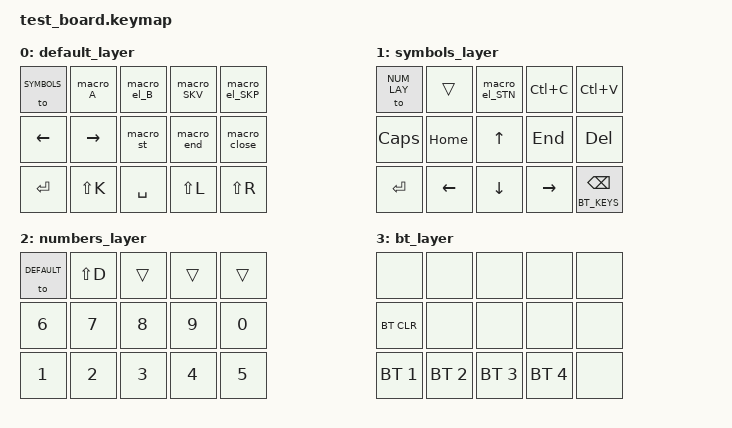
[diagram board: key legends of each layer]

#include <behaviors.dtsi>
#include <dt-bindings/zmk/keys.h>
#include <dt-bindings/zmk/bt.h>
#include "keys_sv.h"

#define DEFAULT 0
#define SYMBOLS 1
#define NUM_LAY 2
#define BT_KEYS 3

/ {
    keymap {
        compatible = "zmk,keymap";

        default_layer {
            bindings = <
                &to SYMBOLS &macro_A      &macro_el_B   &macro_SKV     &macro_el_SKP
                &kp LEFT    &kp RIGHT     &macro_st     &macro_end     &macro_close
                &kp ENTER   &kp LS(K)     &kp SPACE     &kp LS(L)      &kp LS(R)
            >;
        };

        symbols_layer {
            // &lt BT_KEYS LC(V)
            bindings = <
                &to NUM_LAY &trans    &macro_el_STN &kp LC(C)      &kp LC(V)
                &kp CAPS    &kp HOME  &kp UP        &kp END        &kp DEL
                &kp ENTER   &kp LEFT  &kp DOWN      &kp RIGHT      &lt BT_KEYS BSPC
            >;
        };

        numbers_layer {
            bindings = <
                &to DEFAULT  &kp LS(D) &trans        &trans         &trans
                &kp N6       &kp N7    &kp N8        &kp N9         &kp N0
                &kp N1       &kp N2    &kp N3        &kp N4         &kp N5
            >;
        };

        bt_layer {
            bindings = <
                &none        &none        &none        &none        &none
                &bt BT_CLR   &none        &none        &none        &none
                &bt BT_SEL 1 &bt BT_SEL 2 &bt BT_SEL 3 &bt BT_SEL 4 &none
            >;
        };
    };


    macros {
        zed_em_kay: zed_em_kay {
            label = "ZM_zed_em_kay";
            compatible = "zmk,behavior-macro";
            #binding-cells = <0>;
            bindings
                = <&macro_press &kp LSHFT>
                , <&macro_tap &kp Z &kp M &kp K>
                , <&macro_release &kp LSHFT>
                ;
        };

        macro_st: start_line {
            label = "start_line";
            compatible = "zmk,behavior-macro";
            #binding-cells = <0>;
            bindings
                = <&macro_tap &kp SPACE>
                , <&macro_press &kp LSHFT>
                , <&macro_tap &kp S>
                , <&macro_tap &kp T>
                , <&macro_release &kp LSHFT>
                ;
        };

        macro_end: end_line {
            label = "end_line";
            compatible = "zmk,behavior-macro";
            #binding-cells = <0>;
            bindings
                = <&macro_tap &kp SPACE>
                , <&macro_press &kp LSHFT>
                , <&macro_tap &kp E>
                , <&macro_tap &kp L>
                , <&macro_release &kp LSHFT>
                ;
        };

        macro_close: close_line {
            label = "close_line";
            compatible = "zmk,behavior-macro";
            #binding-cells = <0>;
            bindings
                = <&macro_tap &kp SPACE>
                , <&macro_press &kp LSHFT>
                , <&macro_tap &kp C>
                , <&macro_tap &kp L>
                , <&macro_tap &kp O>
                , <&macro_release &kp LSHFT>
                ;
        };

        macro_el_SKP: el_SKP {
            label = "el_SKP";
            compatible = "zmk,behavior-macro";
            #binding-cells = <0>;
            bindings
                = <&macro_tap &kp SPACE>
                , <&macro_press &kp LSHFT>
                , <&macro_tap &kp E>
                , <&macro_tap &kp L>
                , <&macro_release &kp LSHFT>
                , <&macro_tap &kp SV_UNDER>
                , <&macro_press &kp LSHFT>
                , <&macro_tap &kp S>
                , <&macro_tap &kp K>
                , <&macro_tap &kp P>
                , <&macro_release &kp LSHFT>
                ;
        };

        macro_el_STN: el_STN {
            label = "el_STN";
            compatible = "zmk,behavior-macro";
            #binding-cells = <0>;
            bindings
                = <&macro_tap &kp SPACE>
                , <&macro_press &kp LSHFT>
                , <&macro_tap &kp E>
                , <&macro_tap &kp L>
                , <&macro_release &kp LSHFT>
                , <&macro_tap &kp SV_UNDER>
                , <&macro_press &kp LSHFT>
                , <&macro_tap &kp S>
                , <&macro_tap &kp T>
                , <&macro_tap &kp N>
                , <&macro_release &kp LSHFT>
                ;
        };

        macro_el_B: el_B {
            label = "el_B";
            compatible = "zmk,behavior-macro";
            #binding-cells = <0>;
            bindings
                = <&macro_tap &kp SPACE>
                , <&macro_press &kp LSHFT>
                , <&macro_tap &kp E>
                , <&macro_tap &kp L>
                , <&macro_release &kp LSHFT>
                , <&macro_tap &kp SV_UNDER>
                , <&macro_press &kp LSHFT>
                , <&macro_tap &kp B>
                , <&macro_release &kp LSHFT>
                ;
        };

        macro_SKV: skv {
            label = "skv";
            compatible = "zmk,behavior-macro";
            #binding-cells = <0>;
            bindings
                = <&macro_tap &kp SPACE>
                , <&macro_press &kp LSHFT>
                , <&macro_tap &kp S>
                , <&macro_tap &kp K>
                , <&macro_tap &kp V>
                , <&macro_release &kp LSHFT>
                ;
        };

        macro_A: space_A {
            label = "space_A";
            compatible = "zmk,behavior-macro";
            #binding-cells = <0>;
            bindings
                = <&macro_tap &kp SPACE>
                , <&macro_press &kp LSHFT>
                , <&macro_tap &kp A>
                , <&macro_release &kp LSHFT>
                ;
        };
    };
};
